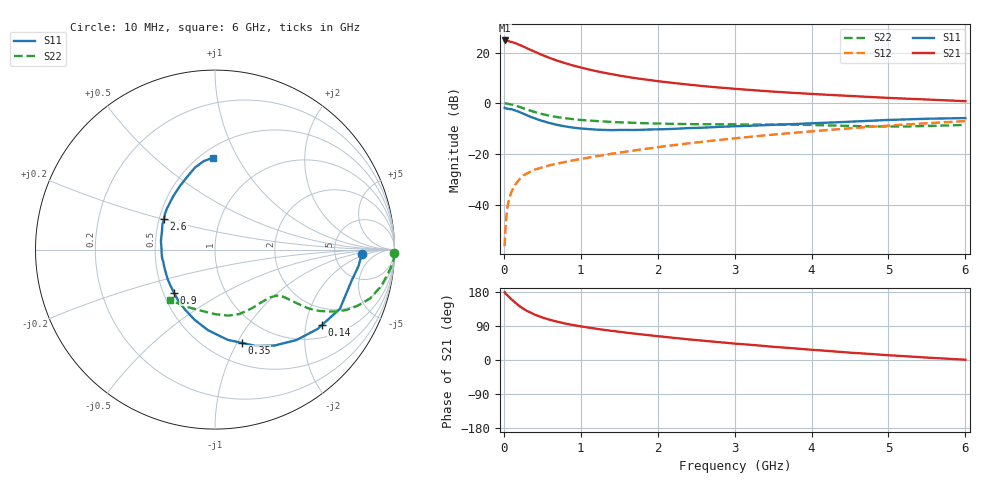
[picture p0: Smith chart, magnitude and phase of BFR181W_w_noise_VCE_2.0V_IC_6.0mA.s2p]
! Infineon Technologies  Discrete & RF Semiconductors
! BFR181W
! VCE =  2.0 V,  IC =  6.0 mA
! Common Emitter S-Parameters:  Jan 2017
# GHz  S  MA  R  50
!  f  S11  S21  S12  S22
! GHz  MAG  ANG  MAG  ANG  MAG  ANG  MAG  ANG
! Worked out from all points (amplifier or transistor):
!   77 points, 10 MHz to 6 GHz, reference 50 ohm
!   highest |S21| = 24.9 dB at 10 MHz (marker M1)
!   |S21| within 3 dB of that: start of sweep to 294.8 MHz
!   unconditionally stable (mu >= 1): 1.191 GHz to 3.23 GHz
!   at 130 MHz: K = 0.19, MSG = 28.6 dB, |S12| = -33.1 dB
!   at 2.2 GHz: K = 1.08, MAG = 10.6 dB, |S12| = -16.5 dB
!   at 6 GHz: K = 0.85, MSG = 3.9 dB, |S12| = -7.0 dB
!   lowest NFmin = 1.03 dB at 450 MHz
!   S11 on the Smith chart (normalised r, x): 10 MHz: 9.76, -1.52; 140 MHz: 1.38, -2.48; 350 MHz: 0.71, -1.05; 900 MHz: 0.57, -0.31; 2.6 GHz: 0.53, +0.20; 6 GHz: 0.58, +0.80
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0.01  0.8182 -1.8  17.56 178.9  0.0015 78.9  0.9956 -1.2
0.02  0.8048 -6.5  17.49 175.8  0.0031 92.4  1 -2.4
0.05  0.7806 -12.8  17.14 170.0  0.0095 81.5  0.9832 -6.2
0.1  0.7702 -25.4  16.46 160.0  0.0179 78.4  0.9498 -12.2
0.14  0.7294 -35.1  15.7 153.0  0.0235 73.6  0.9148 -16.3
0.2  0.678 -48.0  14.45 142.8  0.0312 67.9  0.8554 -21.4
0.25  0.6295 -58.1  13.4 135.7  0.0373 64.0  0.8053 -24.7
0.3  0.5827 -67.1  12.33 129.6  0.0412 61.2  0.7561 -27.2
0.35  0.5406 -74.0  11.39 125.0  0.045 59.5  0.7159 -28.7
0.4  0.5076 -82.0  10.54 119.7  0.0488 58.1  0.6763 -30.4
0.5  0.4501 -95.1  9.033 112.2  0.0543 56.2  0.6149 -32.2
0.6  0.407 -106.3  7.886 106.0  0.0601 55.7  0.5685 -32.9
0.7  0.3738 -116.5  6.954 100.8  0.0643 56.6  0.5343 -33.4
0.9  0.3314 -133.6  5.613 92.3  0.0748 57.7  0.4883 -34.1
1.1  0.3106 -148.2  4.707 85.6  0.0846 59.0  0.459 -34.8
1.6  0.2982 -176.7  3.354 71.9  0.1119 61.7  0.4184 -38.6
2.1  0.3092 164.2  2.643 60.8  0.1425 62.5  0.3967 -45.3
2.6  0.3314 149.2  2.191 50.7  0.1754 61.9  0.3869 -53.8
3.1  0.3566 136.8  1.893 41.8  0.2108 60.2  0.3838 -62.5
4.1  0.4095 117.3  1.51 25.6  0.2881 54.8  0.3709 -80.9
5.1  0.4756 102.3  1.264 11.4  0.3709 46.8  0.349 -107.1
6  0.5124 91.1  1.107 0.7  0.4462 38.2  0.3761 -132.1
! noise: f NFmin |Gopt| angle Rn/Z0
0.45  1.03  0.28  16  0.22
0.9  1.07  0.26  30  0.22
1.9  1.49  0.12  82  0.19
2.4  1.65  0.1  95  0.23
